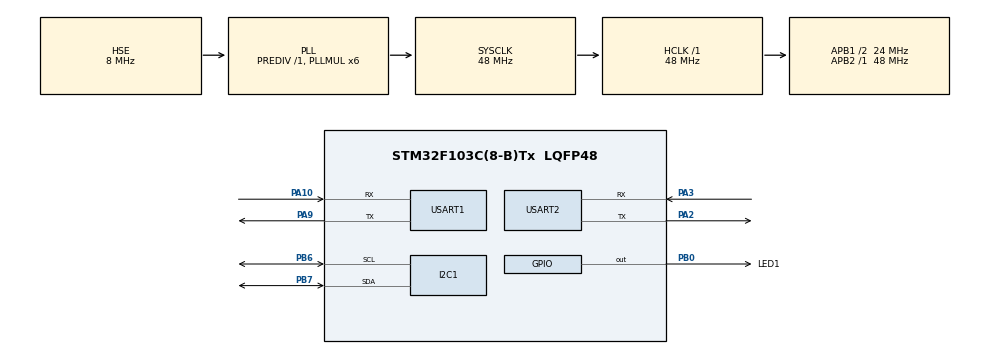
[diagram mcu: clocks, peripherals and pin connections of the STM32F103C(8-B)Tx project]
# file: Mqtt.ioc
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Mcu.Family=STM32F1
Mcu.Name=STM32F103C(8-B)Tx
Mcu.Package=LQFP48
NVIC.PriorityGroup=NVIC_PRIORITYGROUP_4
NVIC.USART2_IRQn=true\:0\:0\:false\:false\:true\:true\:true
PA10.Mode=Asynchronous
PA10.Signal=USART1_RX
PA2.Mode=Asynchronous
PA2.Signal=USART2_TX
PA3.Mode=Asynchronous
PA3.Signal=USART2_RX
PA9.Mode=Asynchronous
PA9.Signal=USART1_TX
PB0.GPIO_Label=LED1
PB0.PinState=GPIO_PIN_SET
PB0.Signal=GPIO_Output
PB6.Mode=I2C
PB6.Signal=I2C1_SCL
PB7.Mode=I2C
PB7.Signal=I2C1_SDA
PD0-OSC_IN.Mode=HSE-External-Oscillator
PD0-OSC_IN.Signal=RCC_OSC_IN
PD1-OSC_OUT.Mode=HSE-External-Oscillator
PD1-OSC_OUT.Signal=RCC_OSC_OUT
ProjectManager.HeapSize=0x200
ProjectManager.StackSize=0x400
ProjectManager.TargetToolchain=MDK-ARM V5.27
RCC.AHBFreq_Value=48000000
RCC.APB1CLKDivider=RCC_HCLK_DIV2
RCC.APB1Freq_Value=24000000
RCC.APB1TimFreq_Value=48000000
RCC.APB2Freq_Value=48000000
RCC.APB2TimFreq_Value=48000000
RCC.HCLKFreq_Value=48000000
RCC.PLLMUL=RCC_PLL_MUL6
RCC.PLLSourceVirtual=RCC_PLLSOURCE_HSE
RCC.SYSCLKFreq_VALUE=48000000
RCC.SYSCLKSource=RCC_SYSCLKSOURCE_PLLCLK
RCC.USBFreq_Value=48000000
USART1.VirtualMode=VM_ASYNC
USART2.VirtualMode=VM_ASYNC
VP_SYS_VS_ND.Mode=No_Debug
board=custom

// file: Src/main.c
/* USER CODE BEGIN Header */
/**
  ******************************************************************************
  * @file           : main.c
  * @brief          : Main program body
  ******************************************************************************
  * @attention
  *
  * <h2><center>&copy; Copyright (c) 2020 STMicroelectronics.
  * All rights reserved.</center></h2>
  *
  * This software component is licensed by ST under BSD 3-Clause license,
  * the "License"; You may not use this file except in compliance with the
  * License. You may obtain a copy of the License at:
  *                        opensource.org/licenses/BSD-3-Clause
  *
  ******************************************************************************
  */
/* USER CODE END Header */

#include "main.h"
#include "i2c.h"
#include "usart.h"
#include "gpio.h"

/* USER CODE BEGIN Includes */
#include "bmp280.h"
#include <stdio.h>
#include <string.h>

/* USER CODE END Includes */

void SystemClock_Config(void);

/* USER CODE BEGIN 0 */
#define RX_LEN 128
static uint8_t rx_buf[RX_LEN];
static uint8_t rx_index = 0;
static uint8_t rx_byte;
static uint8_t mqtt_connected = 0;

static void clear_rx_buf(void)
{
	rx_index = 0;
	memset(rx_buf, 0x00, RX_LEN);
}
/*串口1收*/
void HAL_UART_RxCpltCallback(UART_HandleTypeDef *UartHandle)
{
	HAL_StatusTypeDef status;
	rx_buf[rx_index ++] = rx_byte;
	do {
			status = HAL_UART_Receive_IT(&huart2, &rx_byte, 1);
	}while(status != HAL_OK);
}

static void wait_for_connected(void)
{
	printf("wait for mqtt connected...\r\n");
	while(!mqtt_connected)
		{
			if(rx_index > 0 && (rx_buf[rx_index - 1] == 0x0d))
				{
					char *strx = strstr((const char *)rx_buf,"CONNECT OK");
					if(strx)
					{
						printf("MQTT CONNECT OK!!!\r\n");
						mqtt_connected = 1;
					}
					clear_rx_buf();
				}
		}
}

static void publish(const char *topic, const char *msg, uint32_t len)
{
	uint8_t sendbuf1[128];
	uint8_t sendbuf2[128];
	uint8_t sendbytes = 0;

	memset(sendbuf1, 0x00, 128);
	memset(sendbuf2, 0x00, 128);
//	AT+PUBLISH="TASTEK",5,0 			TASTEK 25
	HAL_UART_Transmit(&huart2, (uint8_t *)"AT+PUBLISH=\"TASTEK\",5,0\r\n", 25, 0xFFFF);//推送主题
//	sendbytes += snprintf((char *)sendbuf1, 128, "AT+PUBLISH=\"%s\",%d,0\r\n",topic, len);
//	HAL_UART_Transmit(&huart2, sendbuf1, sendbytes, 0xffff);
	sendbytes = snprintf((char *)sendbuf2, 128, "%s\r\n", msg);
	HAL_Delay(100);
	HAL_UART_Transmit(&huart2, sendbuf2, sendbytes, 0xffff);
	HAL_Delay(100);
}
/* USER CODE END 0 */

int main(void)
{
  /* USER CODE BEGIN 1 */
	float T = 0;
  static char temp_str[16];
  static uint8_t bytes = 0;
  /* USER CODE END 1 */

  /* MCU Configuration--------------------------------------------------------*/

  /* Reset of all peripherals, Initializes the Flash interface and the Systick. */
  HAL_Init();

  /* Configure the system clock */
  SystemClock_Config();

  /* Initialize all configured peripherals */
  MX_GPIO_Init();
  MX_I2C1_Init();
  MX_USART1_UART_Init();
  MX_USART2_UART_Init();
  /* USER CODE BEGIN 2 */
	bmp280_init();

//	HAL_UART_Receive_IT(&huart2, &rx_byte, 1);
//	HAL_Delay(3000);
//这里请填写自己的MQTT服务器的IP地址
	HAL_UART_Transmit(&huart2, (uint8_t *)"AT+IPPORT=\"xxxx.xxxx.xxxx.xxxx\",1883\r\n", 32, 0xFFFF);
	HAL_Delay(3000);
	HAL_UART_Transmit(&huart2, (uint8_t *)"AT+USERPWD=\"abcde\",\"abcde\"\r\n", 28, 0xFFFF);
	HAL_Delay(10000);
	HAL_UART_Transmit(&huart2, (uint8_t *)"AT+SUBSCRIBE=\"TASTEK\",0\r\n", 25, 0xFFFF);//订阅主题
	HAL_Delay(3000);
//  HAL_UART_Transmit(&huart2, (uint8_t *)"AT+SUBSCRIBE=\"TASTEK1\",0\r\n", 26, 0xFFFF);//订阅主题1
//  HAL_Delay(3000);
	HAL_UART_Transmit(&huart2, (uint8_t *)"AT&W\r\n", 6, 0xFFFF);
	HAL_Delay(3000);

  //HAL_UART_Transmit(&huart2, (uint8_t *)"AT+MQTTMODE?\r\n", 14, 0xFFFF);
  //HAL_UART_Transmit(&huart2, (uint8_t *)"AT+CLIENTID=\"STM32F4_NODE001\"\r\n", 31, 0xFFFF);
  //HAL_UART_Transmit(&huart2, (uint8_t *)"AT+USERPWD=\"\",\"\"\r\n", 18, 0xFFFF); AT+USERPWD="abcde","abcde"
  //HAL_UART_Transmit(&huart2, (uint8_t *)"AT+CFUN=1\r\n", 11, 0xFFFF);

	//wait_for_connected();
  /* USER CODE END 2 */

  /* Infinite loop */
  while (1)
  {

    /* USER CODE BEGIN 3 */
		HAL_Delay(3000);
		T = bmp280_get_temp();
		printf("T = %f\r\n", T);
		memset(temp_str, 0, 16);
		bytes = snprintf(temp_str, 16, "%.02f", T);	//bytes = 5
//		printf("bytes = %d\r\n", bytes);
		clear_rx_buf();
		publish("TASTEK", temp_str, 5);
//		publish("TASTEK", temp_str, bytes);
  }
  /* USER CODE END 3 */
}

void SystemClock_Config(void)
{
  RCC_OscInitTypeDef RCC_OscInitStruct = {0};
  RCC_ClkInitTypeDef RCC_ClkInitStruct = {0};

  /** Initializes the CPU, AHB and APB busses clocks
  */
  RCC_OscInitStruct.OscillatorType = RCC_OSCILLATORTYPE_HSE;
  RCC_OscInitStruct.HSEState = RCC_HSE_ON;
  RCC_OscInitStruct.HSEPredivValue = RCC_HSE_PREDIV_DIV1;
  RCC_OscInitStruct.HSIState = RCC_HSI_ON;
  RCC_OscInitStruct.PLL.PLLState = RCC_PLL_ON;
  RCC_OscInitStruct.PLL.PLLSource = RCC_PLLSOURCE_HSE;
  RCC_OscInitStruct.PLL.PLLMUL = RCC_PLL_MUL6;
  if (HAL_RCC_OscConfig(&RCC_OscInitStruct) != HAL_OK)
  {
    Error_Handler();
  }
  /** Initializes the CPU, AHB and APB busses clocks
  */
  RCC_ClkInitStruct.ClockType = RCC_CLOCKTYPE_HCLK|RCC_CLOCKTYPE_SYSCLK
                              |RCC_CLOCKTYPE_PCLK1|RCC_CLOCKTYPE_PCLK2;
  RCC_ClkInitStruct.SYSCLKSource = RCC_SYSCLKSOURCE_PLLCLK;
  RCC_ClkInitStruct.AHBCLKDivider = RCC_SYSCLK_DIV1;
  RCC_ClkInitStruct.APB1CLKDivider = RCC_HCLK_DIV2;
  RCC_ClkInitStruct.APB2CLKDivider = RCC_HCLK_DIV1;

  if (HAL_RCC_ClockConfig(&RCC_ClkInitStruct, FLASH_LATENCY_1) != HAL_OK)
  {
    Error_Handler();
  }
}

void Error_Handler(void)
{
}

/************************ (C) COPYRIGHT STMicroelectronics *****END OF FILE****/
